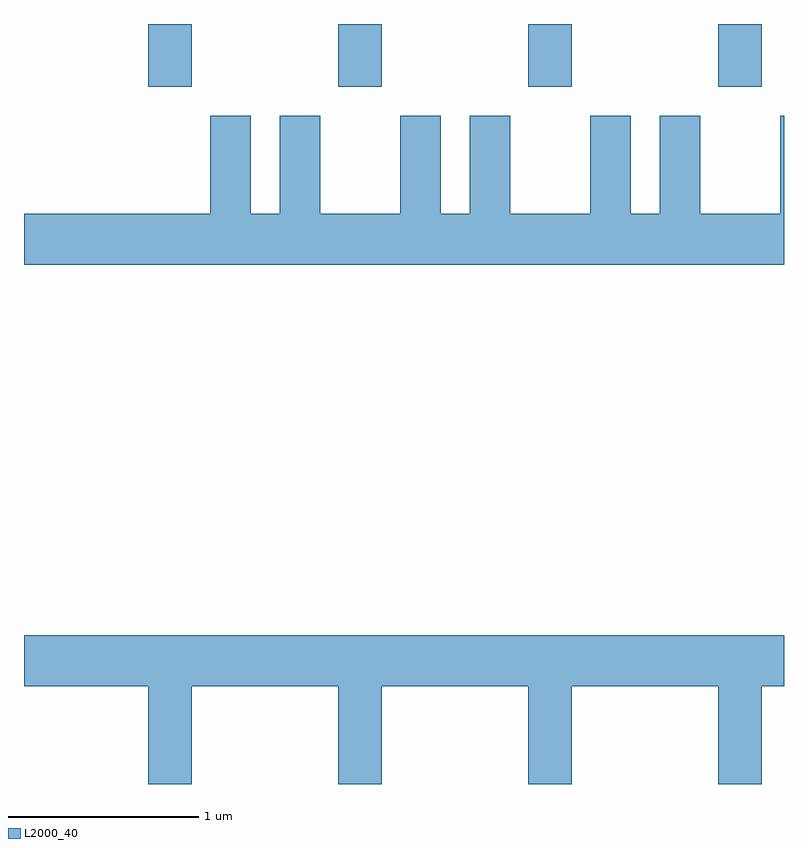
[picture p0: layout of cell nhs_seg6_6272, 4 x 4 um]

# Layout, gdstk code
import gdstk
lib = gdstk.Library(unit=1e-6, precision=1e-09)
def R(c, l, rs):  # rectangles x0, y0, x1, y1
    for r in rs: c.add(gdstk.rectangle(r[:2], r[2:], *l))
def A(c, l, x, y, w, h, nx, ny, dx, dy):  # array of equal rectangles
    R(c, l, [(x+i*dx, y+j*dy, x+i*dx+w, y+j*dy+h) for i in range(nx) for j in range(ny)])
def P(c, l, *ps):  # polygons
    for p in ps: c.add(gdstk.Polygon(p, *l))
L2000_40 = (2000, 40)

nhs_seg6_6272 = lib.new_cell('nhs_seg6_6272')
A(nhs_seg6_6272, L2000_40, 376.266, 1579.831, 0.228, 0.331, 4, 1, 1, 0)
P(nhs_seg6_6272, L2000_40, [(379.611,1579.679),(379.591,1579.679),(379.591,1579.164),(379.169,1579.164),(379.169,1579.679),(378.956,1579.679),(378.956,1579.164),(378.804,1579.164),(378.804,1579.679),(378.591,1579.679),(378.591,1579.164),(378.169,1579.164),(378.169,1579.679),(377.956,1579.679),(377.956,1579.164),(377.804,1579.164),(377.804,1579.679),(377.591,1579.679),(377.591,1579.164),(377.169,1579.164),(377.169,1579.679),(376.956,1579.679),(376.956,1579.164),(376.804,1579.164),(376.804,1579.679),(376.591,1579.679),(376.591,1579.164),(375.611,1579.164),(375.611,1578.896),(379.611,1578.896)],
  [(376.494,1576.676),(377.266,1576.676),(377.266,1576.162),(377.494,1576.162),(377.494,1576.676),(378.266,1576.676),(378.266,1576.162),(378.494,1576.162),(378.494,1576.676),(379.266,1576.676),(379.266,1576.162),(379.494,1576.162),(379.494,1576.676),(379.611,1576.676),(379.611,1576.944),(375.611,1576.944),(375.611,1576.676),(376.266,1576.676),(376.266,1576.162),(376.494,1576.162)])

lib.write_gds('nhs_seg6_6272.gds')
